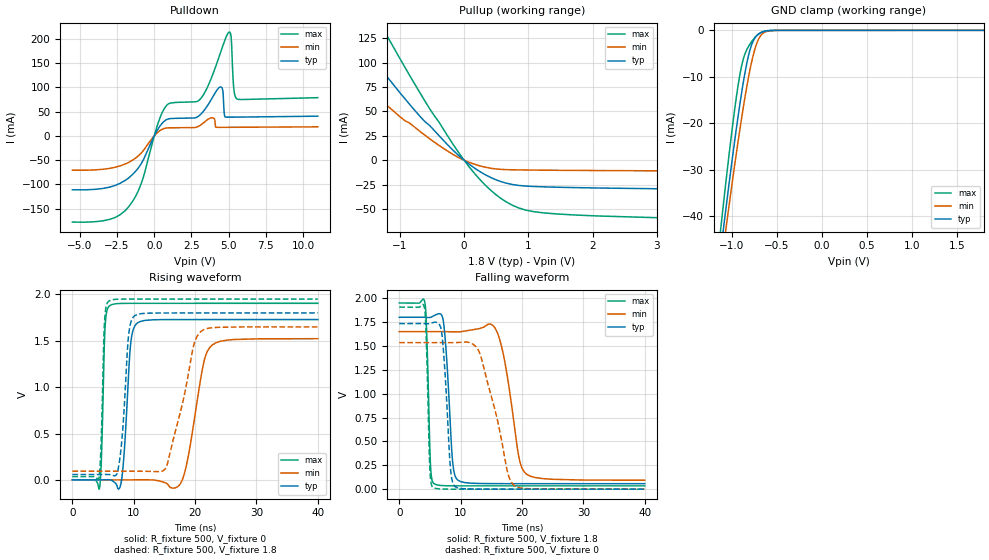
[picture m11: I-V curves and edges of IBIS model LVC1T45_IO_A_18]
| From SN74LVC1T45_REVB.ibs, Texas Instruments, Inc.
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[Model]   LVC1T45_IO_A_18
Model_type  I/O
Vinl=0.5775
Vinh=1.2675
Enable   Active-Low
Vref =   0
Rref =   2000
Cref =   15p
Vmeas =   0.9
| variable   typ   min   max
C_comp   7.41pF   6.57pF   8.25pF
| C_pullup   10.66pF   9.62pF   11.99pF
| C_pulldown   11.25pF   8.17pF   15.60pF
| C_tri-state   7.41pF   6.57pF   8.25pF
[Temperature Range]   40   100   -40
| Ambient temperature   25   85   -40
[Voltage range]   1.8   1.65   1.95
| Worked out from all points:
|   slope of the pulldown table from 0 to 0.27 V, typ, clamps not added: 17.9 ohm
|   slope of the pullup table from 0 to 0.27 V, typ, clamps not added: 21.3 ohm
|   GND clamp passes 1 mA (typ) near -0.71 V on its own axis
|   rising waveform, R_fixture 500, V_fixture 0: 20-80 % time 888ps typ, 2.24ns min, 441ps max; typ from 0 V to 1.73 V
|   falling waveform, R_fixture 500, V_fixture 1.8: 20-80 % time 921ps typ, 2.13ns min, 482ps max; typ from 1.8 V to 0.058 V
|   rising waveform, R_fixture 500, V_fixture 1.8: 20-80 % time 988ps typ, 3.09ns min, 458ps max; typ from 0.058 V to 1.8 V
|   falling waveform, R_fixture 500, V_fixture 0: 20-80 % time 923ps typ, 3.29ns min, 465ps max; typ from 1.73 V to 0 V
[GND Clamp]
| LVC1T45_IO_A_18
|   Voltage   I(typ)   I(min)   I(max)
-5.5V     -910.9mA   -836.3mA   -1.031A
-1.15V    -51.97mA   -55.4mA    -47.66mA
-1.115V   -46.31mA   -50.15mA   -41.36mA
-1.085V   -41.55mA   -45.71mA   -36.08mA
-1.07V    -39.19mA   -43.51mA   -33.49mA
-1.055V   -36.86mA   -41.33mA   -30.93mA
-960mV    -22.72mA   -27.97mA   -15.92mA
-880mV    -12.18mA   -17.61mA   -6.789mA
-775mV    -2.883mA   -6.453mA   -2.321mA
-710mV    -920.7uA   -2.212mA   -923.3uA
-650mV    -302.1uA   -584.3uA   -254.3uA
1.8V      6.037pA    540.4pA    4.293pA
[Pulldown]
| LVC1T45_IO_A_18
|   Voltage   I(typ)   I(min)   I(max)
-5.5V     -111.4mA   -70.76mA   -178.1mA
-1.725V   -86.91mA   -54.76mA   -146.6mA
655mV     29.91mA    15.28mA    55.28mA
3.135V    44.94mA    22.73mA    77.39mA
4.465V    101.2mA    17.68mA    172.9mA
4.615V    92.58mA    17.71mA    186.3mA
4.74V     40.47mA    17.73mA    197mA
5.03V     38.76mA    17.77mA    214.5mA
5.175V    38.77mA    17.8mA     201.9mA
5.36V     38.8mA     17.83mA    94.76mA
5.55V     38.84mA    17.86mA    76.62mA
11V       40.75mA    18.73mA    78.98mA
[Pullup]
| LVC1T45_IO_A_18
|   Voltage   I(typ)   I(min)   I(max)
-5.5V     441.6mA    75.79mA    604.5mA
-5.24V    422.8mA    99.59mA    579.6mA
-5.09V    411.7mA    138.7mA    565.1mA
-2.575V   205.3mA    144.6mA    291.7mA
-1.905V   146.3mA    100.5mA    211.7mA
-1.675V   126.2mA    85.63mA    184.2mA
-1.22V    87.44mA    57.45mA    130.1mA
-520mV    34.49mA    21.24mA    51.22mA
140mV     -7.072mA   -3.66mA    -11.83mA
575mV     -22mA      -9.421mA   -39.34mA
1.08V     -26.97mA   -10.16mA   -52.81mA
11V       -33.54mA   -12.74mA   -67.97mA
[Ramp]
| LVC1T45_IO_A_18
| variable   typ   min   max
dV/dt_r   1.10/9.51E-10   0.97/2.38E-09   1.20/4.72E-10
dV/dt_f   1.07/9.47E-10   0.98/2.28E-09   1.17/5.00E-10
R_load = 500
[Rising Waveform]
| LVC1T45_IO_A_18
R_fixture =   500
C_fixture =   0
L_fixture =   0
V_fixture =   0
V_fixture_min = 0
V_fixture_max = 0
|   Time   V(typ)   V(min)   V(max)
0s        136.8pV    359.1pV    79.4pV
4.41ns    -53.67uV   2.884uV    -90.84mV
5.31ns    1.267mV    -11.6uV    1.632V
6.095ns   655.8uV    1.823uV    1.88V
7.95ns    -24.45mV   -28.11uV   1.903V
9.475ns   1.456V     -64.19uV   1.904V
10.58ns   1.691V     748.7uV    1.904V
17.68ns   1.729V     -32.75mV   1.904V
22.81ns   1.729V     1.455V     1.904V
40ns      1.729V     1.523V     1.904V
[Falling Waveform]
| LVC1T45_IO_A_18
R_fixture =   500
C_fixture =   0
L_fixture =   0
V_fixture =   1.8
V_fixture_min = 1.65
V_fixture_max = 1.95
|   Time   V(typ)   V(min)   V(max)
0s        1.8V       1.65V      1.95V
4.165ns   1.8V       1.65V      1.959V
5.09ns    1.799V     1.65V      258.3mV
5.67ns    1.818V     1.65V      57.95mV
7.19ns    1.761V     1.65V      37.13mV
8.685ns   299.9mV    1.648V     35.03mV
9.575ns   93.56mV    1.647V     34.72mV
15.83ns   58.02mV    1.662V     34.49mV
20.72ns   57.67mV    158.4mV    34.49mV
40ns      57.62mV    93.41mV    34.48mV
[Rising Waveform]
| LVC1T45_IO_A_18
R_fixture =   500
C_fixture =   0
L_fixture =   0
V_fixture =   1.8
V_fixture_min = 1.65
V_fixture_max = 1.95
|   Time   V(typ)   V(min)   V(max)
0s        57.57mV    93.15mV    34.46mV
4.32ns    57.53mV    93.15mV    21.31mV
5.215ns   58.5mV     93.14mV    1.681V
5.92ns    57.72mV    93.15mV    1.927V
7.585ns   166mV      93.13mV    1.949V
9.13ns    1.542V     93.14mV    1.95V
10.12ns   1.77V      93.52mV    1.95V
15.29ns   1.8V       136.1mV    1.95V
21ns      1.8V       1.604V     1.95V
40ns      1.8V       1.65V      1.95V
[Falling Waveform]
| LVC1T45_IO_A_18
R_fixture =   500
C_fixture =   0
L_fixture =   0
V_fixture =   0
V_fixture_min = 0
V_fixture_max = 0
|   Time   V(typ)   V(min)   V(max)
0s        1.734V     1.535V     1.907V
4.115ns   1.734V     1.535V     1.897V
4.99ns    1.733V     1.535V     217.1mV
5.505ns   1.745V     1.535V     18.77mV
6.93ns    1.637V     1.535V     1.888mV
8.33ns    231.5mV    1.534V     382.3uV
9.13ns    25.07mV    1.535V     179.1uV
13.05ns   495.2uV    1.435V     33.65uV
18.75ns   74.26uV    38.01mV    27.03uV
40ns      42.23uV    102.9uV    17.43uV
